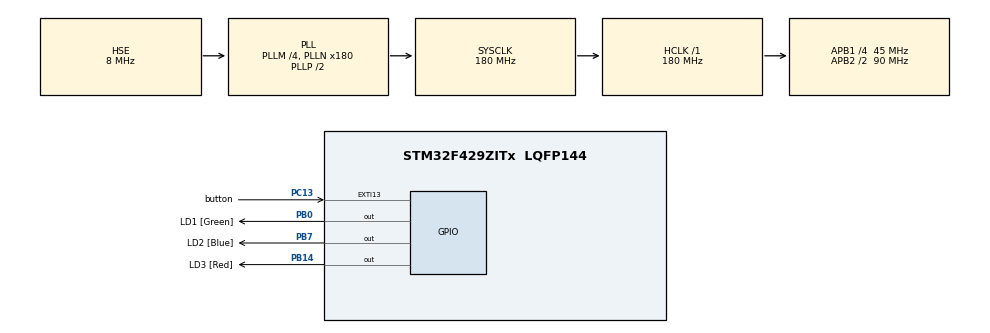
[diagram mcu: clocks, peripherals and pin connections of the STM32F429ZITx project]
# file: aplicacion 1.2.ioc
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Mcu.Family=STM32F4
Mcu.Name=STM32F429ZITx
Mcu.Package=LQFP144
NVIC.PriorityGroup=NVIC_PRIORITYGROUP_4
PB0.GPIO_Label=LD1 [Green]
PB0.Signal=GPIO_Output
PB14.GPIO_Label=LD3 [Red]
PB14.Signal=GPIO_Output
PB7.GPIO_Label=LD2 [Blue]
PB7.Signal=GPIO_Output
PC13.GPIO_Label=button
PC13.Signal=GPXTI13
PH0/OSC_IN.Mode=HSE-External-Oscillator
PH0/OSC_IN.Signal=RCC_OSC_IN
PH1/OSC_OUT.Mode=HSE-External-Oscillator
PH1/OSC_OUT.Signal=RCC_OSC_OUT
ProjectManager.HeapSize=0x200
ProjectManager.StackSize=0x400
ProjectManager.TargetToolchain=STM32CubeIDE
RCC.48MHZClocksFreq_Value=51428571.428571425
RCC.AHBFreq_Value=180000000
RCC.APB1CLKDivider=RCC_HCLK_DIV4
RCC.APB1Freq_Value=45000000
RCC.APB1TimFreq_Value=90000000
RCC.APB2CLKDivider=RCC_HCLK_DIV2
RCC.APB2Freq_Value=90000000
RCC.APB2TimFreq_Value=180000000
RCC.CortexFreq_Value=180000000
RCC.HCLKFreq_Value=180000000
RCC.HSE_VALUE=8000000
RCC.HSI_VALUE=16000000
RCC.PLLM=4
RCC.PLLMUL=RCC_PLL_MUL9
RCC.PLLN=180
RCC.PLLQ=7
RCC.PLLSourceVirtual=RCC_PLLSOURCE_HSE
RCC.PRESCALERUSB=RCC_USBCLKSOURCE_PLL_DIV1_5
RCC.SYSCLKFreq_VALUE=180000000
RCC.SYSCLKSource=RCC_SYSCLKSOURCE_PLLCLK
RCC.SYSCLKSourceVirtual=RCC_SYSCLKSOURCE_PLLCLK
RCC.USBFreq_Value=48000000
RCC.VCOOutputFreq_Value=360000000
board=NUCLEO-F429ZI

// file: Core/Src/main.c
/* USER CODE BEGIN Header */
/**
  ******************************************************************************
  * @file           : main.c
  * @brief          : Secuencia de LEDs simplificada en el while
  ******************************************************************************
  */
/* USER CODE END Header */
#include "main.h"

/* USER CODE BEGIN PTD */
typedef struct {
    GPIO_TypeDef* port;
    uint16_t pin;
} Led_t;
/* USER CODE END PTD */

/* USER CODE BEGIN PD */
#define NUM_LEDS 3

#define LED1_PORT           GPIOB
#define LED1_PIN            GPIO_PIN_0    // LED Verde
#define LED2_PORT           GPIOB
#define LED2_PIN            GPIO_PIN_7    // LED Azul
#define LED3_PORT           GPIOB
#define LED3_PIN            GPIO_PIN_14   // LED Rojo
/* USER CODE END PD */

/* USER CODE BEGIN PV */
// Vector con los 3 LEDs
static const Led_t leds[NUM_LEDS] = {
    {LED1_PORT, LED1_PIN},
    {LED2_PORT, LED2_PIN},
    {LED3_PORT, LED3_PIN}
};
/* USER CODE END PV */

void SystemClock_Config(void);
static void MX_GPIO_Init(void);

int main(void)
{

  /* MCU Configuration--------------------------------------------------------*/

  /* Reset of all peripherals, Initializes the Flash interface and the Systick. */
  HAL_Init();

  /* Configure the system clock */
  SystemClock_Config();

  /* Initialize all configured peripherals */
  MX_GPIO_Init();
  /* USER CODE BEGIN 2 */
  int8_t i = 0;              // Índice del LED actual (0, 1 o 2)
  int8_t paso = 1;           // 1 = avance (1->2->3), -1 = retroceso (3->2->1)
  GPIO_PinState botonPrevio = GPIO_PIN_SET;
  /* USER CODE END 2 */

  /* Infinite loop */
  /* USER CODE BEGIN WHILE */
  while (1)
  {
	  // 1. Apaga todos los LEDs
	        for (uint8_t k = 0; k < NUM_LEDS; k++) {
	            HAL_GPIO_WritePin(leds[k].port, leds[k].pin, GPIO_PIN_RESET);
	        }

	        // 2. Prende solo el LED actual
	        HAL_GPIO_WritePin(leds[i].port, leds[i].pin, GPIO_PIN_SET);

	        // 3. Muestrea el botón durante los 200 ms
	        for (uint16_t ms = 0; ms < 200; ms++) {
	            GPIO_PinState botonActual = HAL_GPIO_ReadPin(button_GPIO_Port,button_Pin);

	            // Detecta si se presionó (de RESET a SET)
	            if (botonPrevio == GPIO_PIN_RESET && botonActual == GPIO_PIN_SET) {
	                paso = -paso; // Invierte el sentido
	                HAL_Delay(50); // Antirrebote simple para ignorar falsos disparos
	            }

	            botonPrevio = botonActual;
	            HAL_Delay(1); // Muestreo cada 1 ms
	        }

	        // 4. Calcula el siguiente LED
	        i += paso;

	        if (i >= NUM_LEDS) {
	            i = 0;
	        } else if (i < 0) {
	            i = NUM_LEDS - 1;
	        }
  }
    /* USER CODE END WHILE */

}

void SystemClock_Config(void)
{
  RCC_OscInitTypeDef RCC_OscInitStruct = {0};
  RCC_ClkInitTypeDef RCC_ClkInitStruct = {0};

  /** Configure the main internal regulator output voltage
  */
  __HAL_RCC_PWR_CLK_ENABLE();
  __HAL_PWR_VOLTAGESCALING_CONFIG(PWR_REGULATOR_VOLTAGE_SCALE1);

  /** Initializes the RCC Oscillators according to the specified parameters
  * in the RCC_OscInitTypeDef structure.
  */
  RCC_OscInitStruct.OscillatorType = RCC_OSCILLATORTYPE_HSE;
  RCC_OscInitStruct.HSEState = RCC_HSE_ON;
  RCC_OscInitStruct.PLL.PLLState = RCC_PLL_ON;
  RCC_OscInitStruct.PLL.PLLSource = RCC_PLLSOURCE_HSE;
  RCC_OscInitStruct.PLL.PLLM = 4;
  RCC_OscInitStruct.PLL.PLLN = 180;
  RCC_OscInitStruct.PLL.PLLP = RCC_PLLP_DIV2;
  RCC_OscInitStruct.PLL.PLLQ = 7;
  if (HAL_RCC_OscConfig(&RCC_OscInitStruct) != HAL_OK)
  {
    Error_Handler();
  }

  /** Activate the Over-Drive mode
  */
  if (HAL_PWREx_EnableOverDrive() != HAL_OK)
  {
    Error_Handler();
  }

  /** Initializes the CPU, AHB and APB buses clocks
  */
  RCC_ClkInitStruct.ClockType = RCC_CLOCKTYPE_HCLK|RCC_CLOCKTYPE_SYSCLK
                              |RCC_CLOCKTYPE_PCLK1|RCC_CLOCKTYPE_PCLK2;
  RCC_ClkInitStruct.SYSCLKSource = RCC_SYSCLKSOURCE_PLLCLK;
  RCC_ClkInitStruct.AHBCLKDivider = RCC_SYSCLK_DIV1;
  RCC_ClkInitStruct.APB1CLKDivider = RCC_HCLK_DIV4;
  RCC_ClkInitStruct.APB2CLKDivider = RCC_HCLK_DIV2;

  if (HAL_RCC_ClockConfig(&RCC_ClkInitStruct, FLASH_LATENCY_5) != HAL_OK)
  {
    Error_Handler();
  }
}

static void MX_GPIO_Init(void)
{
  GPIO_InitTypeDef GPIO_InitStruct = {0};

  /* GPIO Ports Clock Enable */
  __HAL_RCC_GPIOC_CLK_ENABLE();
  __HAL_RCC_GPIOH_CLK_ENABLE();
  __HAL_RCC_GPIOB_CLK_ENABLE();

  /*Configure GPIO pin Output Level */
  HAL_GPIO_WritePin(GPIOB, LD1_Pin|LD3_Pin|LD2_Pin, GPIO_PIN_RESET);

  /*Configure GPIO pin : button_Pin */
  GPIO_InitStruct.Pin = button_Pin;
  GPIO_InitStruct.Mode = GPIO_MODE_IT_RISING;
  GPIO_InitStruct.Pull = GPIO_NOPULL;
  HAL_GPIO_Init(button_GPIO_Port, &GPIO_InitStruct);

  /*Configure GPIO pins : LD1_Pin LD3_Pin LD2_Pin */
  GPIO_InitStruct.Pin = LD1_Pin|LD3_Pin|LD2_Pin;
  GPIO_InitStruct.Mode = GPIO_MODE_OUTPUT_PP;
  GPIO_InitStruct.Pull = GPIO_NOPULL;
  GPIO_InitStruct.Speed = GPIO_SPEED_FREQ_LOW;
  HAL_GPIO_Init(GPIOB, &GPIO_InitStruct);

}

void Error_Handler(void)
{
  __disable_irq();
  while (1)
  {
  }
}
